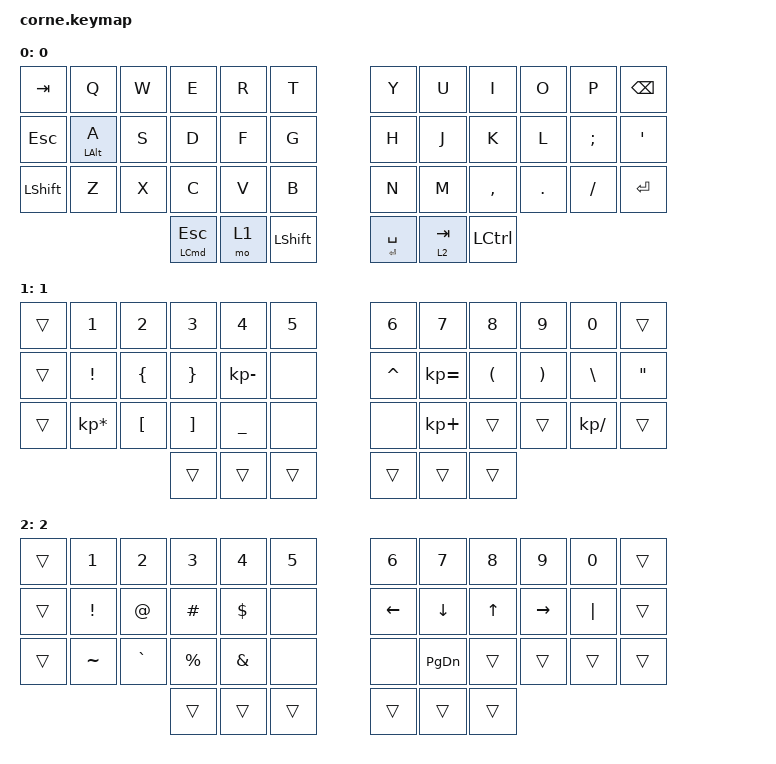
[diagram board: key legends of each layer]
/*
 * Copyright (c) 2020 The ZMK Contributors
 *
 * SPDX-License-Identifier: MIT
 */

#include <behaviors.dtsi>
#include <dt-bindings/zmk/keys.h>

/ {
    combos {
        compatible = "zmk,combos";

        Left_parenthesis {
            bindings = <&kp LEFT_PARENTHESIS>;
            key-positions = <15 16>;
        };

        Right_parenthesis {
            bindings = <&kp RIGHT_PARENTHESIS>;
            key-positions = <19 20>;
        };

        Left_brace {
            bindings = <&kp LEFT_BRACE>;
            key-positions = <15 14>;
        };

        Right_brace {
            bindings = <&kp RIGHT_BRACE>;
            key-positions = <20 21>;
        };

        Left_bracket {
            bindings = <&kp LEFT_BRACKET>;
            key-positions = <13 14>;
        };

        Right_bracket {
            bindings = <&kp RIGHT_BRACKET>;
            key-positions = <22 21>;
        };

        LeftHalfWindow {
            bindings = <&kp LC(LA(LEFT_ARROW))>;
            key-positions = <40 19>;
        };

        RightHalfWindow {
            bindings = <&kp LC(LA(RIGHT_ARROW))>;
            key-positions = <40 20>;
        };

        MaximizeWindow {
            bindings = <&kp LC(LA(ENTER))>;
            key-positions = <40 20 19>;
        };

        leftThird {
            bindings = <&kp LC(LA(D))>;
            key-positions = <37 14>;
        };

        leftTwoThirds {
            bindings = <&kp LC(LA(E))>;
            key-positions = <37 14 15>;
        };

        middleThird {
            bindings = <&kp LC(LA(F))>;
            key-positions = <37 15>;
        };

        rightThird {
            bindings = <&kp LC(LA(G))>;
            key-positions = <37 16>;
        };

        rightTwoThirds {
            bindings = <&kp LC(LA(T))>;
            key-positions = <37 16 15>;
        };
    };

    behaviors {
        holdtap: holdtap {
            compatible = "zmk,behavior-hold-tap";
            label = "HOLDTAP";
            bindings = <&kp>, <&kp>;

            #binding-cells = <2>;
            tapping-term-ms = <200>;
            flavor = "tap-preferred";
        };

        layertap: layertap {
            compatible = "zmk,behavior-hold-tap";
            label = "LAYERTAP";
            #binding-cells = <2>;
            tapping-term-ms = <200>;
            flavor = "hold-preferred";
            bindings = <&mo>, <&kp>;
        };

        longht: longht {
            compatible = "zmk,behavior-hold-tap";
            label = "LONGHT";
            bindings = <&kp>, <&kp>;

            #binding-cells = <2>;
            flavor = "tap-preferred";
            tapping-term-ms = <400>;
        };
    };

    keymap {
        compatible = "zmk,keymap";

        base_layer {
            // -----------------------------------------------------------------------------------------
            // |  TAB |  Q  |  W  |  E  |  R  |  T  |   |  Y  |  U   |  I  |  O  |  P  | BKSP |
            // | CTRL |  A  |  S  |  D  |  F  |  G  |   |  H  |  J   |  K  |  L  |  ;  |  '   |
            // | SHFT |  Z  |  X  |  C  |  V  |  B  |   |  N  |  M   |  ,  |  .  |  /  | ESC  |
            //                    | GUI | LWR | SPC |   | ENT | RSE  | ALT |

            display-name = "0";
            bindings = <
&kp TAB         &kp Q               &kp W  &kp E                         &kp R  &kp T             &kp Y                 &kp U            &kp I             &kp O    &kp P          &kp BACKSPACE
&kp ESC         &longht LEFT_ALT A  &kp S  &kp D                         &kp F  &kp G             &kp H                 &kp J            &kp K             &kp L    &kp SEMICOLON  &kp SINGLE_QUOTE
&kp LEFT_SHIFT  &kp Z               &kp X  &kp C                         &kp V  &kp B             &kp N                 &kp M            &kp COMMA         &kp DOT  &kp SLASH      &kp ENTER
                                           &holdtap LEFT_COMMAND ESCAPE  &mo 1  &kp LEFT_SHIFT    &holdtap ENTER SPACE  &layertap 2 TAB  &kp LEFT_CONTROL
            >;
        };

        layer_1 {
            // -----------------------------------------------------------------------------------------
            // |  TAB |  1  |  2  |  3  |  4  |  5  |   |  6  |  7  |  8  |  9  |  0  | BKSP |
            // | BTCLR| BT1 | BT2 | BT3 | BT4 | BT5 |   | LFT | DWN |  UP | RGT |     |      |
            // | SHFT |     |     |     |     |     |   |     |     |     |     |     |      |
            //                    | GUI |     | SPC |   | ENT |     | ALT |

            display-name = "1";
            bindings = <
&trans  &kp N1           &kp N2            &kp N3             &kp N4          &kp N5    &kp N6     &kp N7        &kp N8                &kp N9                 &kp N0         &trans
&trans  &kp EXCL         &kp LEFT_BRACE    &kp RIGHT_BRACE    &kp KP_MINUS    &none     &kp CARET  &kp KP_EQUAL  &kp LEFT_PARENTHESIS  &kp RIGHT_PARENTHESIS  &kp BACKSLASH  &kp DQT
&trans  &kp KP_MULTIPLY  &kp LEFT_BRACKET  &kp RIGHT_BRACKET  &kp UNDERSCORE  &none     &none      &kp KP_PLUS   &trans                &trans                 &kp KP_DIVIDE  &trans
                                           &trans             &trans          &trans    &trans     &trans        &trans
            >;
        };

        layer_2 {
            // -----------------------------------------------------------------------------------------
            // |  TAB |  !  |  @  |  #  |  $  |  %  |   |  ^  |  &  |  *  |  (  |  )  | BKSP |
            // | CTRL |     |     |     |     |     |   |  -  |  =  |  [  |  ]  |  \  |  `   |
            // | SHFT |     |     |     |     |     |   |  _  |  +  |  {  |  }  | "|" |  ~   |
            //                    | GUI |     | SPC |   | ENT |     | ALT |

            display-name = "2";
            bindings = <
&trans  &kp NUMBER_1  &kp NUMBER_2  &kp NUMBER_3  &kp NUMBER_4   &kp NUMBER_5    &kp NUMBER_6    &kp NUMBER_7    &kp NUMBER_8  &kp N9           &kp NUMBER_0  &trans
&trans  &kp EXCL      &kp AT_SIGN   &kp HASH      &kp DOLLAR     &none           &kp LEFT_ARROW  &kp DOWN_ARROW  &kp UP_ARROW  &kp RIGHT_ARROW  &kp PIPE      &trans
&trans  &kp TILDE     &kp GRAVE     &kp PERCENT   &kp AMPERSAND  &none           &none           &kp PAGE_DOWN   &trans        &trans           &trans        &trans
                                    &trans        &trans         &trans          &trans          &trans          &trans
            >;
        };
    };
};
